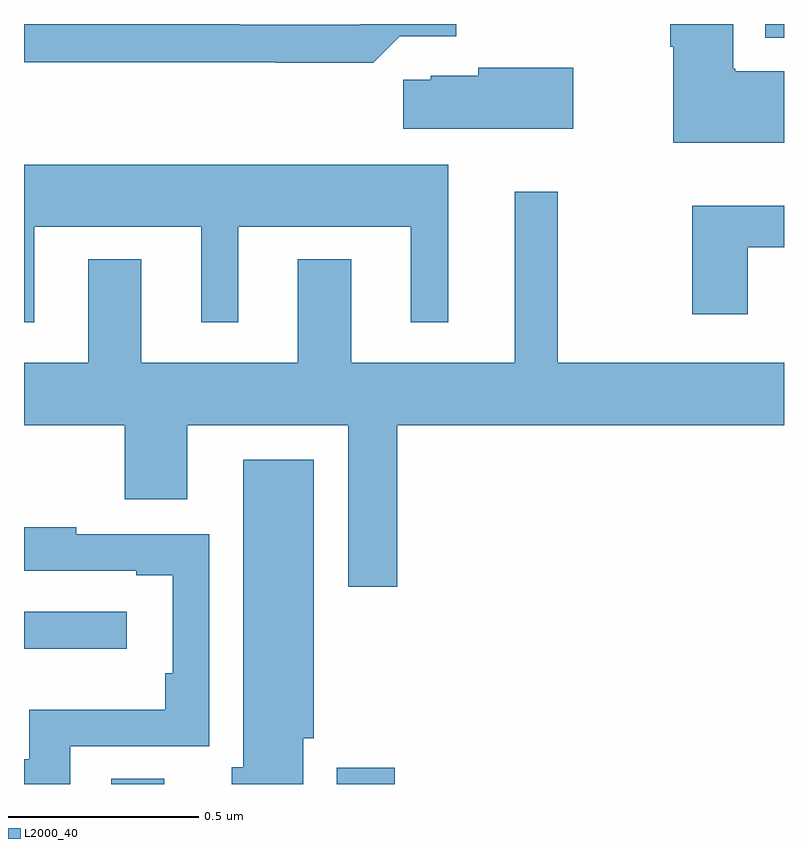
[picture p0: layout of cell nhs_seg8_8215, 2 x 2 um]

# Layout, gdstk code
import gdstk
lib = gdstk.Library(unit=1e-6, precision=1e-09)
def R(c, l, rs):  # rectangles x0, y0, x1, y1
    for r in rs: c.add(gdstk.rectangle(r[:2], r[2:], *l))
def P(c, l, *ps):  # polygons
    for p in ps: c.add(gdstk.Polygon(p, *l))
L2000_40 = (2000, 40)

nhs_seg8_8215 = lib.new_cell('nhs_seg8_8215')
R(nhs_seg8_8215, L2000_40, [(220.229,1104.9,220.369,1104.914), (220.823,1104.9,220.976,1104.943), (220,1105.256,220.27,1105.353), (221.951,1106.864,222,1106.9)])
P(nhs_seg8_8215, L2000_40, [(220.989,1106.868),(221.137,1106.868),(221.137,1106.9),(220.883,1106.9),(220.881,1106.898),(220.567,1106.898),(220.567,1106.9),(220,1106.9),(220,1106.8),(220.663,1106.8),(220.663,1106.798),(220.919,1106.798)],
  [(222,1106.776),(221.872,1106.776),(221.872,1106.782),(221.866,1106.782),(221.866,1106.9),(221.701,1106.9),(221.701,1106.84),(221.708,1106.84),(221.708,1106.588),(222,1106.588)],
  [(221.446,1106.785),(221.196,1106.785),(221.196,1106.764),(221.07,1106.764),(221.07,1106.753),(220.998,1106.753),(220.998,1106.624),(221.446,1106.624)],
  [(220.027,1106.366),(220.466,1106.366),(220.466,1106.115),(220.564,1106.115),(220.564,1106.366),(221.018,1106.366),(221.018,1106.115),(221.116,1106.115),(221.116,1106.53),(220,1106.53),(220,1106.115),(220.027,1106.115)],
  [(220.982,1105.844),(222,1105.844),(222,1106.008),(221.405,1106.008),(221.405,1106.458),(221.291,1106.458),(221.291,1106.008),(220.861,1106.008),(220.861,1106.281),(220.721,1106.281),(220.721,1106.008),(220.309,1106.008),(220.309,1106.281),(220.169,1106.281),(220.169,1106.008),(220,1106.008),(220,1105.844),(220.265,1105.844),(220.265,1105.65),(220.429,1105.65),(220.429,1105.844),(220.853,1105.844),(220.853,1105.419),(220.982,1105.419)],
  [(221.905,1106.313),(222,1106.313),(222,1106.422),(221.758,1106.422),(221.758,1106.136),(221.905,1106.136)],
  [(220.735,1105.02),(220.762,1105.02),(220.762,1105.753),(220.577,1105.753),(220.577,1104.944),(220.547,1104.944),(220.547,1104.9),(220.735,1104.9)],
  [(220.122,1104.999),(220.488,1104.999),(220.488,1105.557),(220.137,1105.557),(220.137,1105.576),(220,1105.576),(220,1105.461),(220.295,1105.461),(220.295,1105.449),(220.392,1105.449),(220.392,1105.192),(220.372,1105.192),(220.372,1105.096),(220.014,1105.096),(220.014,1104.965),(220,1104.965),(220,1104.9),(220.122,1104.9)])

lib.write_gds('nhs_seg8_8215.gds')
